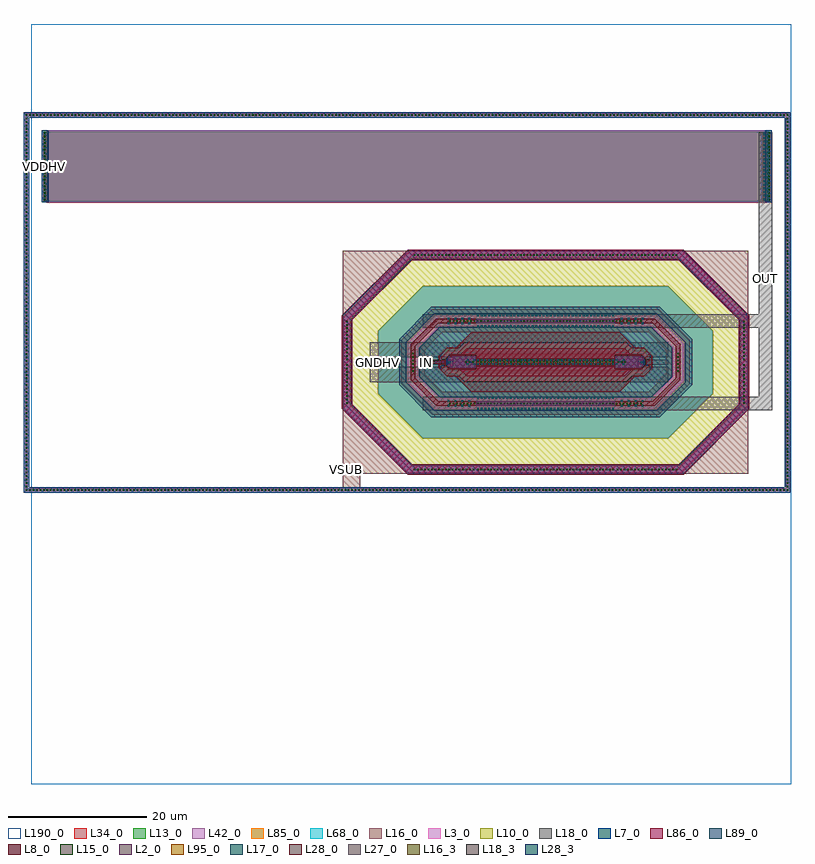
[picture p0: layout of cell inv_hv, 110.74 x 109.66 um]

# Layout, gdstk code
from math import pi, radians
import gdstk
lib = gdstk.Library(unit=1e-6, precision=1e-09)
def R(c, l, rs):  # rectangles x0, y0, x1, y1
    for r in rs: c.add(gdstk.rectangle(r[:2], r[2:], *l))
def A(c, l, x, y, w, h, nx, ny, dx, dy):  # array of equal rectangles
    R(c, l, [(x+i*dx, y+j*dy, x+i*dx+w, y+j*dy+h) for i in range(nx) for j in range(ny)])
def P(c, l, *ps):  # polygons
    for p in ps: c.add(gdstk.Polygon(p, *l))
L2_0 = (2, 0)
L3_0 = (3, 0)
L7_0 = (7, 0)
L8_0 = (8, 0)
L10_0 = (10, 0)
L13_0 = (13, 0)
L15_0 = (15, 0)
L16_0 = (16, 0)
L16_3 = (16, 3)
L17_0 = (17, 0)
L18_0 = (18, 0)
L18_3 = (18, 3)
L27_0 = (27, 0)
L28_0 = (28, 0)
L28_3 = (28, 3)
L34_0 = (34, 0)
L42_0 = (42, 0)
L68_0 = (68, 0)
L85_0 = (85, 0)
L86_0 = (86, 0)
L89_0 = (89, 0)
L95_0 = (95, 0)
L190_0 = (190, 0)

nedia_cdns_707135540070 = lib.new_cell('nedia_CDNS_707135540070')
R(nedia_cdns_707135540070, L2_0, [(-6.26,0,-5.64,20), (5.64,0,6.26,20)])
R(nedia_cdns_707135540070, L3_0, [(-15.97,0,-14.97,20), (-6.72,0,-5.18,20), (-2.68,0,0,20), (0,0,2.68,20), (5.18,0,6.72,20), (14.97,0,15.97,20)])
P(nedia_cdns_707135540070, L3_0, [(2.68,21.6),(1.53,22.75),(1.53,24),(0.68,24.85),(0,24.85),(0,24.2),(0.28,24.2),(0.31,24.17),(0.31,23.41),(0,23.41),(0,20),(2.68,20)],
  [(6.72,25.93),(2.76,29.89),(0,29.89),(0,28.35),(2.12,28.35),(5.18,25.29),(5.18,20),(6.72,20)],
  [(15.97,29.8),(6.63,39.14),(0,39.14),(0,38.14),(6.19,38.14),(14.97,29.36),(14.97,20),(15.97,20)],
  [(2.68,0),(0,0),(0,-3.41),(0.31,-3.41),(0.31,-4.17),(0.28,-4.2),(0,-4.2),(0,-4.85),(0.68,-4.85),(1.53,-4),(1.53,-2.75),(2.68,-1.6)],
  [(6.72,0),(5.18,0),(5.18,-5.29),(2.12,-8.35),(0,-8.35),(0,-9.89),(2.76,-9.89),(6.72,-5.93)],
  [(15.97,0),(14.97,0),(14.97,-9.36),(6.19,-18.14),(0,-18.14),(0,-19.14),(6.63,-19.14),(15.97,-9.8)],
  [(0,39.14),(-6.63,39.14),(-15.97,29.8),(-15.97,20),(-14.97,20),(-14.97,29.36),(-6.19,38.14),(0,38.14)],
  [(0,29.89),(-2.76,29.89),(-6.72,25.93),(-6.72,20),(-5.18,20),(-5.18,25.29),(-2.12,28.35),(0,28.35)],
  [(0,24.85),(-0.68,24.85),(-1.53,24),(-1.53,22.75),(-2.68,21.6),(-2.68,20),(0,20),(0,23.41),(-0.31,23.41),(-0.31,24.17),(-0.28,24.2),(0,24.2)],
  [(0,0),(-2.68,0),(-2.68,-1.6),(-1.53,-2.75),(-1.53,-4),(-0.68,-4.85),(0,-4.85),(0,-4.2),(-0.28,-4.2),(-0.31,-4.17),(-0.31,-3.41),(0,-3.41)],
  [(0,-8.35),(-2.12,-8.35),(-5.18,-5.29),(-5.18,0),(-6.72,0),(-6.72,-5.93),(-2.76,-9.89),(0,-9.89)],
  [(0,-18.14),(-6.19,-18.14),(-14.97,-9.36),(-14.97,0),(-15.97,0),(-15.97,-9.8),(-6.63,-19.14),(0,-19.14)])
R(nedia_cdns_707135540070, L7_0, [(-16.15,0,-14.79,20), (-0.24,0,0,20), (0,0,0.24,20), (14.79,0,16.15,20)])
P(nedia_cdns_707135540070, L7_0, [(0.98,23.86),(0.41,24.43),(0,24.43),(0,20),(0.98,20)],
  [(16.15,29.88),(6.71,39.32),(0,39.32),(0,37.96),(6.11,37.96),(14.79,29.28),(14.79,20),(16.15,20)],
  [(0.98,0),(0,0),(0,-4.43),(0.41,-4.43),(0.98,-3.86)],
  [(16.15,0),(14.79,0),(14.79,-9.28),(6.11,-17.96),(0,-17.96),(0,-19.32),(6.71,-19.32),(16.15,-9.88)],
  [(0,39.32),(-6.71,39.32),(-16.15,29.88),(-16.15,20),(-14.79,20),(-14.79,29.28),(-6.11,37.96),(0,37.96)],
  [(0,24.43),(-0.41,24.43),(-0.98,23.86),(-0.98,20),(0,20)],
  [(0,0),(-0.98,0),(-0.98,-3.86),(-0.41,-4.43),(0,-4.43)],
  [(0,-17.96),(-6.11,-17.96),(-14.79,-9.28),(-14.79,0),(-16.15,0),(-16.15,-9.88),(-6.71,-19.32),(0,-19.32)])
R(nedia_cdns_707135540070, L8_0, [(-6.26,0,-5.64,20), (-4.3,0,-0.24,20), (0.24,0,4.3,20), (5.64,0,6.26,20)])
P(nedia_cdns_707135540070, L8_0, [(4.3,20.72),(2.05,22.97),(2.05,24.22),(0.9,25.37),(0,25.37),(0,24.43),(0.41,24.43),(0.98,23.86),(0.98,20),(4.3,20)],
  [(6.26,25.74),(2.57,29.43),(0,29.43),(0,28.81),(2.31,28.81),(5.64,25.48),(5.64,20),(6.26,20)],
  [(4.3,0),(0.98,0),(0.98,-3.86),(0.41,-4.43),(0,-4.43),(0,-5.37),(0.9,-5.37),(2.05,-4.22),(2.05,-2.97),(4.3,-0.72)],
  [(6.26,0),(5.64,0),(5.64,-5.48),(2.31,-8.81),(0,-8.81),(0,-9.43),(2.57,-9.43),(6.26,-5.74)],
  [(0,29.43),(-2.57,29.43),(-6.26,25.74),(-6.26,20),(-5.64,20),(-5.64,25.48),(-2.31,28.81),(0,28.81)],
  [(0,25.37),(-0.9,25.37),(-2.05,24.22),(-2.05,22.97),(-4.3,20.72),(-4.3,20),(-0.98,20),(-0.98,23.86),(-0.41,24.43),(0,24.43)],
  [(0,-4.43),(-0.41,-4.43),(-0.98,-3.86),(-0.98,0),(-4.3,0),(-4.3,-0.72),(-2.05,-2.97),(-2.05,-4.22),(-0.9,-5.37),(0,-5.37)],
  [(0,-8.81),(-2.31,-8.81),(-5.64,-5.48),(-5.64,0),(-6.26,0),(-6.26,-5.74),(-2.57,-9.43),(0,-9.43)])
R(nedia_cdns_707135540070, L10_0, [(-14.97,0,-10.97,20), (10.97,0,14.97,20)])
P(nedia_cdns_707135540070, L10_0, [(14.97,29.36),(6.19,38.14),(0,38.14),(0,34.14),(4.53,34.14),(10.97,27.7),(10.97,20),(14.97,20)],
  [(14.97,0),(10.97,0),(10.97,-7.7),(4.53,-14.14),(0,-14.14),(0,-18.14),(6.19,-18.14),(14.97,-9.36)],
  [(0,38.14),(-6.19,38.14),(-14.97,29.36),(-14.97,20),(-10.97,20),(-10.97,27.7),(-4.53,34.14),(0,34.14)],
  [(0,-14.14),(-4.53,-14.14),(-10.97,-7.7),(-10.97,0),(-14.97,0),(-14.97,-9.36),(-6.19,-18.14),(0,-18.14)])
R(nedia_cdns_707135540070, L13_0, [(-2.9,0,-0.78,20), (0.78,0,2.9,20)])
P(nedia_cdns_707135540070, L13_0, [(2.9,21.7),(1.75,22.85),(1.75,24.1),(0.78,25.07),(0,25.07),(0,23.68),(0.21,23.68),(0.21,23.8),(0.67,23.8),(0.78,23.69),(0.78,20),(2.9,20)],
  [(2.9,0),(0.78,0),(0.78,-3.69),(0.67,-3.8),(0.21,-3.8),(0.21,-3.68),(0,-3.68),(0,-5.07),(0.78,-5.07),(1.75,-4.1),(1.75,-2.85),(2.9,-1.7)],
  [(0,25.07),(-0.78,25.07),(-1.75,24.1),(-1.75,22.85),(-2.9,21.7),(-2.9,20),(-0.78,20),(-0.78,23.69),(-0.67,23.8),(-0.21,23.8),(-0.21,23.68),(0,23.68)],
  [(0,-3.68),(-0.21,-3.68),(-0.21,-3.8),(-0.67,-3.8),(-0.78,-3.69),(-0.78,0),(-2.9,0),(-2.9,-1.7),(-1.75,-2.85),(-1.75,-4.1),(-0.78,-5.07),(0,-5.07)])
A(nedia_cdns_707135540070, L15_0, -6, -18.75, 0.22, 0.22, 12, 2, 0.5, 57.28)
A(nedia_cdns_707135540070, L15_0, 0.28, -18.75, 0.22, 0.22, 12, 2, 0.5, 57.28)
A(nedia_cdns_707135540070, L15_0, -1.36, -9.23, 0.22, 0.22, 6, 2, 0.5, 38.24)
A(nedia_cdns_707135540070, L15_0, -15.58, -9, 0.22, 0.22, 1, 18, 0, 0.5)
A(nedia_cdns_707135540070, L15_0, 15.36, -9, 0.22, 0.22, 1, 18, 0, 0.5)
A(nedia_cdns_707135540070, L15_0, -6.06, -3.86, 0.22, 0.22, 1, 9, 0, 0.5)
A(nedia_cdns_707135540070, L15_0, 5.84, -3.86, 0.22, 0.22, 1, 9, 0, 0.5)
A(nedia_cdns_707135540070, L15_0, -0.11, -1.61, 0.11, 0.22, 1, 3, 0, 0.5)
A(nedia_cdns_707135540070, L15_0, 0, -1.61, 0.11, 0.22, 1, 3, 0, 0.5)
A(nedia_cdns_707135540070, L15_0, -15.58, 0.14, 0.22, 0.22, 1, 6, 0, 0.48)
A(nedia_cdns_707135540070, L15_0, -0.58, 0.14, 0.22, 0.22, 1, 6, 0, 0.48)
A(nedia_cdns_707135540070, L15_0, -0.11, 0.14, 0.11, 0.22, 1, 6, 0, 0.48)
A(nedia_cdns_707135540070, L15_0, 0, 0.14, 0.11, 0.22, 1, 6, 0, 0.48)
A(nedia_cdns_707135540070, L15_0, 0.36, 0.14, 0.22, 0.22, 1, 6, 0, 0.48)
A(nedia_cdns_707135540070, L15_0, 15.36, 0.14, 0.22, 0.22, 1, 6, 0, 0.48)
A(nedia_cdns_707135540070, L15_0, -6.06, 0.62, 0.22, 0.22, 1, 5, 0, 0.48)
A(nedia_cdns_707135540070, L15_0, 5.84, 0.62, 0.22, 0.22, 1, 5, 0, 0.48)
A(nedia_cdns_707135540070, L15_0, -15.58, 3.015, 0.22, 0.22, 1, 36, 0, 0.475)
A(nedia_cdns_707135540070, L15_0, -6.06, 3.015, 0.22, 0.22, 1, 36, 0, 0.475)
A(nedia_cdns_707135540070, L15_0, -0.58, 3.015, 0.22, 0.22, 1, 36, 0, 0.475)
A(nedia_cdns_707135540070, L15_0, -0.11, 3.015, 0.11, 0.22, 1, 36, 0, 0.475)
A(nedia_cdns_707135540070, L15_0, 0, 3.015, 0.11, 0.22, 1, 36, 0, 0.475)
A(nedia_cdns_707135540070, L15_0, 0.36, 3.015, 0.22, 0.22, 1, 36, 0, 0.475)
A(nedia_cdns_707135540070, L15_0, 5.84, 3.015, 0.22, 0.22, 1, 36, 0, 0.475)
A(nedia_cdns_707135540070, L15_0, 15.36, 3.015, 0.22, 0.22, 1, 36, 0, 0.475)
A(nedia_cdns_707135540070, L15_0, -6.06, 20.14, 0.22, 0.22, 1, 8, 0, 0.5)
A(nedia_cdns_707135540070, L15_0, 5.84, 20.14, 0.22, 0.22, 1, 8, 0, 0.5)
A(nedia_cdns_707135540070, L15_0, -15.58, 20.28, 0.22, 0.22, 1, 18, 0, 0.5)
A(nedia_cdns_707135540070, L15_0, 15.36, 20.28, 0.22, 0.22, 1, 18, 0, 0.5)
A(nedia_cdns_707135540070, L15_0, -0.11, 20.39, 0.11, 0.22, 1, 3, 0, 0.5)
A(nedia_cdns_707135540070, L15_0, 0, 20.39, 0.11, 0.22, 1, 3, 0, 0.5)
R(nedia_cdns_707135540070, L15_0, [(-0.11,-4,0,-3.78), (0,-4,0.11,-3.78), (-0.11,23.78,0,24), (0,23.78,0.11,24)])
R(nedia_cdns_707135540070, L16_0, [(-16.08,0,-14.86,20), (-7.62,0,-4.28,20), (-1.23,0,0,20), (0,0,1.23,20), (4.28,0,7.62,20), (14.86,0,16.08,20)])
P(nedia_cdns_707135540070, L16_0, [(0.35,23.99),(0.26,24.08),(0,24.08),(0,23.7),(0.35,23.7)],
  [(7.62,26.31),(3.14,30.79),(0,30.79),(0,27.45),(1.75,27.45),(4.28,24.92),(4.28,20),(7.62,20)],
  [(16.08,39.25),(0,39.25),(0,38.03),(6.15,38.03),(14.86,29.32),(14.86,20),(16.08,20)],
  [(1.23,23.87),(0.55,24.55),(0,24.55),(0,24.32),(0.42,24.32),(0.65,24.09),(0.65,23.43),(0,23.43),(0,20),(1.23,20)],
  [(0.35,-3.7),(0,-3.7),(0,-4.08),(0.26,-4.08),(0.35,-3.99)],
  [(7.62,0),(4.28,0),(4.28,-4.92),(1.75,-7.45),(0,-7.45),(0,-10.79),(3.14,-10.79),(7.62,-6.31)],
  [(16.08,0),(14.86,0),(14.86,-9.32),(6.15,-18.03),(0,-18.03),(0,-19.25),(16.08,-19.25)],
  [(1.23,0),(0,0),(0,-3.43),(0.65,-3.43),(0.65,-4.09),(0.42,-4.32),(0,-4.32),(0,-4.55),(0.55,-4.55),(1.23,-3.87)],
  [(0,39.25),(-16.08,39.25),(-16.08,20),(-14.86,20),(-14.86,29.32),(-6.15,38.03),(0,38.03)],
  [(0,30.79),(-3.14,30.79),(-7.62,26.31),(-7.62,20),(-4.28,20),(-4.28,24.92),(-1.75,27.45),(0,27.45)],
  [(0,24.08),(-0.26,24.08),(-0.35,23.99),(-0.35,23.7),(0,23.7)],
  [(0,24.55),(-0.55,24.55),(-1.23,23.87),(-1.23,20),(0,20),(0,23.43),(-0.65,23.43),(-0.65,24.09),(-0.42,24.32),(0,24.32)],
  [(0,-3.7),(-0.35,-3.7),(-0.35,-3.99),(-0.26,-4.08),(0,-4.08)],
  [(0,-7.45),(-1.75,-7.45),(-4.28,-4.92),(-4.28,0),(-7.62,0),(-7.62,-6.31),(-3.14,-10.79),(0,-10.79)],
  [(0,-18.03),(-6.15,-18.03),(-14.86,-9.32),(-14.86,0),(-16.08,0),(-16.08,-19.25),(0,-19.25)],
  [(0,0),(-1.23,0),(-1.23,-3.87),(-0.55,-4.55),(0,-4.55),(0,-4.32),(-0.42,-4.32),(-0.65,-4.09),(-0.65,-3.43),(0,-3.43)])
A(nedia_cdns_707135540070, L17_0, -6.41, -4.13, 0.26, 0.26, 1, 4, 0, 1)
A(nedia_cdns_707135540070, L17_0, -5.75, -4.13, 0.26, 0.26, 1, 4, 0, 1)
A(nedia_cdns_707135540070, L17_0, 5.49, -4.13, 0.26, 0.26, 1, 4, 0, 1)
A(nedia_cdns_707135540070, L17_0, 6.15, -4.13, 0.26, 0.26, 1, 4, 0, 1)
A(nedia_cdns_707135540070, L17_0, -6.85, 0.14, 0.26, 0.26, 1, 8, 0, 0.53)
A(nedia_cdns_707135540070, L17_0, -5.31, 0.14, 0.26, 0.26, 1, 8, 0, 0.53)
A(nedia_cdns_707135540070, L17_0, -0.39, 0.14, 0.26, 0.26, 1, 8, 0, 0.53)
A(nedia_cdns_707135540070, L17_0, 0.13, 0.14, 0.26, 0.26, 1, 8, 0, 0.53)
A(nedia_cdns_707135540070, L17_0, 5.05, 0.14, 0.26, 0.26, 1, 8, 0, 0.53)
A(nedia_cdns_707135540070, L17_0, 6.59, 0.14, 0.26, 0.26, 1, 8, 0, 0.53)
A(nedia_cdns_707135540070, L17_0, -6.85, 4.375, 0.26, 0.26, 1, 30, 0, 0.525)
A(nedia_cdns_707135540070, L17_0, -5.31, 4.375, 0.26, 0.26, 1, 30, 0, 0.525)
A(nedia_cdns_707135540070, L17_0, -0.39, 4.375, 0.26, 0.26, 1, 30, 0, 0.525)
A(nedia_cdns_707135540070, L17_0, 0.13, 4.375, 0.26, 0.26, 1, 30, 0, 0.525)
A(nedia_cdns_707135540070, L17_0, 5.05, 4.375, 0.26, 0.26, 1, 30, 0, 0.525)
A(nedia_cdns_707135540070, L17_0, 6.59, 4.375, 0.26, 0.26, 1, 30, 0, 0.525)
A(nedia_cdns_707135540070, L17_0, -6.41, 20.87, 0.26, 0.26, 1, 4, 0, 1)
A(nedia_cdns_707135540070, L17_0, -5.75, 20.87, 0.26, 0.26, 1, 4, 0, 1)
A(nedia_cdns_707135540070, L17_0, 5.49, 20.87, 0.26, 0.26, 1, 4, 0, 1)
A(nedia_cdns_707135540070, L17_0, 6.15, 20.87, 0.26, 0.26, 1, 4, 0, 1)
R(nedia_cdns_707135540070, L17_0, [(-0.13,-4.02,0,-3.76), (0,-4.02,0.13,-3.76), (-0.39,-1.38,-0.13,-1.12), (0.13,-1.38,0.39,-1.12), (-0.39,-0.38,-0.13,-0.12), (0.13,-0.38,0.39,-0.12), (-0.39,20.12,-0.13,20.38), (0.13,20.12,0.39,20.38), (-0.39,21.12,-0.13,21.38), (0.13,21.12,0.39,21.38), (-0.13,23.76,0,24.02), (0,23.76,0.13,24.02)])
R(nedia_cdns_707135540070, L18_0, [(-6.91,-7.7,-4.99,0), (-0.35,-7.7,0,-3.7), (0,-7.7,0.35,-3.7), (4.99,-7.7,6.91,0), (-6.91,0,-4.99,20), (-2.88,0,0,20), (0,0,2.88,20), (4.99,0,6.91,20), (-6.91,20,-4.99,27.7), (4.99,20,6.91,27.7), (-0.35,23.7,0,27.7), (0,23.7,0.35,27.7)])
P(nedia_cdns_707135540070, L18_0, [(2.88,27.7),(0.7,27.7),(0.7,23.35),(0,23.35),(0,20),(2.88,20)],
  [(2.88,0),(0,0),(0,-3.35),(0.7,-3.35),(0.7,-7.7),(2.88,-7.7)],
  [(0,23.35),(-0.7,23.35),(-0.7,27.7),(-2.88,27.7),(-2.88,20),(0,20)],
  [(0,0),(-2.88,0),(-2.88,-7.7),(-0.7,-7.7),(-0.7,-3.35),(0,-3.35)])
R(nedia_cdns_707135540070, L34_0, [(-6.94,0,-6.28,20), (-5.62,0,-4.96,20), (4.96,0,5.62,20), (6.28,0,6.94,20)])
P(nedia_cdns_707135540070, L34_0, [(5.62,25.47),(2.3,28.79),(0,28.79),(0,28.13),(2.02,28.13),(4.96,25.19),(4.96,20),(5.62,20)],
  [(6.94,26.03),(2.86,30.11),(0,30.11),(0,29.45),(2.58,29.45),(6.28,25.75),(6.28,20),(6.94,20)],
  [(5.62,0),(4.96,0),(4.96,-5.19),(2.02,-8.13),(0,-8.13),(0,-8.79),(2.3,-8.79),(5.62,-5.47)],
  [(6.94,0),(6.28,0),(6.28,-5.75),(2.58,-9.45),(0,-9.45),(0,-10.11),(2.86,-10.11),(6.94,-6.03)],
  [(0,30.11),(-2.86,30.11),(-6.94,26.03),(-6.94,20),(-6.28,20),(-6.28,25.75),(-2.58,29.45),(0,29.45)],
  [(0,28.79),(-2.3,28.79),(-5.62,25.47),(-5.62,20),(-4.96,20),(-4.96,25.19),(-2.02,28.13),(0,28.13)],
  [(0,-8.13),(-2.02,-8.13),(-4.96,-5.19),(-4.96,0),(-5.62,0),(-5.62,-5.47),(-2.3,-8.79),(0,-8.79)],
  [(0,-9.45),(-2.58,-9.45),(-6.28,-5.75),(-6.28,0),(-6.94,0),(-6.94,-6.03),(-2.86,-10.11),(0,-10.11)])
P(nedia_cdns_707135540070, L68_0, [(10.97,27.7),(4.53,34.14),(-4.53,34.14),(-10.97,27.7),(-10.97,-7.7),(-4.53,-14.14),(4.53,-14.14),(10.97,-7.7)])
P(nedia_cdns_707135540070, L85_0, [(10.97,27.7),(4.53,34.14),(-4.53,34.14),(-10.97,27.7),(-10.97,-7.7),(-4.53,-14.14),(4.53,-14.14),(10.97,-7.7)])
R(nedia_cdns_707135540070, L86_0, [(-16.22,0,-14.72,20), (-2.03,0,0,20), (0,0,2.03,20), (14.72,0,16.22,20)])
P(nedia_cdns_707135540070, L86_0, [(2.03,21.4),(0.93,22.5),(0.93,23.75),(0.43,24.25),(0,24.25),(0,20),(2.03,20)],
  [(16.22,29.91),(6.74,39.39),(0,39.39),(0,37.89),(6.085,37.89),(14.72,29.255),(14.72,20),(16.22,20)],
  [(2.03,0),(0,0),(0,-4.25),(0.43,-4.25),(0.93,-3.75),(0.93,-2.5),(2.03,-1.4)],
  [(16.22,0),(14.72,0),(14.72,-9.255),(6.085,-17.89),(0,-17.89),(0,-19.39),(6.74,-19.39),(16.22,-9.91)],
  [(0,39.39),(-6.74,39.39),(-16.22,29.91),(-16.22,20),(-14.72,20),(-14.72,29.255),(-6.085,37.89),(0,37.89)],
  [(0,24.25),(-0.43,24.25),(-0.93,23.75),(-0.93,22.5),(-2.03,21.4),(-2.03,20),(0,20)],
  [(0,0),(-2.03,0),(-2.03,-1.4),(-0.93,-2.5),(-0.93,-3.75),(-0.43,-4.25),(0,-4.25)],
  [(0,-17.89),(-6.085,-17.89),(-14.72,-9.255),(-14.72,0),(-16.22,0),(-16.22,-9.91),(-6.74,-19.39),(0,-19.39)])
R(nedia_cdns_707135540070, L89_0, [(-7.97,0,-6.96,20), (-5.08,0,-2.78,20), (2.78,0,5.08,20), (6.96,0,7.97,20)])
P(nedia_cdns_707135540070, L89_0, [(5.08,25.25),(2.08,28.25),(0,28.25),(0,24.15),(0.5,24.15),(0.5,25.07),(1.1,25.07),(1.98,24.19),(1.98,22.44),(2.78,21.64),(2.78,20),(5.08,20)],
  [(7.97,26.46),(3.29,31.14),(0,31.14),(0,30.13),(2.87,30.13),(6.96,26.04),(6.96,20),(7.97,20)],
  [(5.08,0),(2.78,0),(2.78,-1.64),(1.98,-2.44),(1.98,-4.19),(1.1,-5.07),(0.5,-5.07),(0.5,-4.15),(0,-4.15),(0,-8.25),(2.08,-8.25),(5.08,-5.25)],
  [(7.97,0),(6.96,0),(6.96,-6.04),(2.87,-10.13),(0,-10.13),(0,-11.14),(3.29,-11.14),(7.97,-6.46)],
  [(0,31.14),(-3.29,31.14),(-7.97,26.46),(-7.97,20),(-6.96,20),(-6.96,26.04),(-2.87,30.13),(0,30.13)],
  [(0,28.25),(-2.08,28.25),(-5.08,25.25),(-5.08,20),(-2.78,20),(-2.78,21.64),(-1.98,22.44),(-1.98,24.19),(-1.1,25.07),(-0.5,25.07),(-0.5,24.15),(0,24.15)],
  [(0,-4.15),(-0.5,-4.15),(-0.5,-5.07),(-1.1,-5.07),(-1.98,-4.19),(-1.98,-2.44),(-2.78,-1.64),(-2.78,0),(-5.08,0),(-5.08,-5.25),(-2.08,-8.25),(0,-8.25)],
  [(0,-10.13),(-2.87,-10.13),(-6.96,-6.04),(-6.96,0),(-7.97,0),(-7.97,-6.46),(-3.29,-11.14),(0,-11.14)])
R(nedia_cdns_707135540070, L95_0, [(-0.58,0,0,20), (0,0,0.58,20)])
nedia_cdns_707135540070.add(gdstk.Label('G', (0.35,23.99), layer=16, texttype=0))
nedia_cdns_707135540070.add(gdstk.Label('D', (7.62,26.31), layer=16, texttype=0))
nedia_cdns_707135540070.add(gdstk.Label('SB', (16.08,39.25), layer=16, texttype=0))
nedia_cdns_707135540070.add(gdstk.Label('S', (1.23,23.87), layer=16, texttype=0))
nedia_cdns_707135540070.add(gdstk.Label('S', (0.615,10), layer=16, texttype=0))
nedia_cdns_707135540070.add(gdstk.Label('D', (5.95,10), layer=16, texttype=0))
nedia_cdns_707135540070.add(gdstk.Label('SB', (15.47,10), layer=16, texttype=0))
nedia_cdns_707135540070.add(gdstk.Label('G', (0.35,-3.7), layer=16, texttype=0))
nedia_cdns_707135540070.add(gdstk.Label('D', (7.62,0), layer=16, texttype=0))
nedia_cdns_707135540070.add(gdstk.Label('SB', (16.08,0), layer=16, texttype=0))
nedia_cdns_707135540070.add(gdstk.Label('S', (1.23,0), layer=16, texttype=0))
nedia_cdns_707135540070.add(gdstk.Label('SB', (0,39.25), layer=16, texttype=0))
nedia_cdns_707135540070.add(gdstk.Label('D', (0,30.79), layer=16, texttype=0))
nedia_cdns_707135540070.add(gdstk.Label('G', (0,24.08), layer=16, texttype=0))
nedia_cdns_707135540070.add(gdstk.Label('S', (0,24.55), layer=16, texttype=0))
nedia_cdns_707135540070.add(gdstk.Label('SB', (-15.47,10), layer=16, texttype=0))
nedia_cdns_707135540070.add(gdstk.Label('D', (-5.95,10), layer=16, texttype=0))
nedia_cdns_707135540070.add(gdstk.Label('S', (-0.615,10), layer=16, texttype=0))
nedia_cdns_707135540070.add(gdstk.Label('G', (0,-3.7), layer=16, texttype=0))
nedia_cdns_707135540070.add(gdstk.Label('D', (0,-7.45), layer=16, texttype=0))
nedia_cdns_707135540070.add(gdstk.Label('SB', (0,-18.03), layer=16, texttype=0))
nedia_cdns_707135540070.add(gdstk.Label('S', (0,0), layer=16, texttype=0))
nedia_cdns_707135540070.add(gdstk.Label('G', (0.175,25.7), layer=18, texttype=0))
nedia_cdns_707135540070.add(gdstk.Label('S', (2.88,27.7), layer=18, texttype=0))
nedia_cdns_707135540070.add(gdstk.Label('D', (5.95,23.85), layer=18, texttype=0))
nedia_cdns_707135540070.add(gdstk.Label('S', (1.44,10), layer=18, texttype=0))
nedia_cdns_707135540070.add(gdstk.Label('D', (5.95,10), layer=18, texttype=0))
nedia_cdns_707135540070.add(gdstk.Label('G', (0.175,-5.7), layer=18, texttype=0))
nedia_cdns_707135540070.add(gdstk.Label('S', (2.88,0), layer=18, texttype=0))
nedia_cdns_707135540070.add(gdstk.Label('D', (5.95,-3.85), layer=18, texttype=0))
nedia_cdns_707135540070.add(gdstk.Label('D', (-5.95,23.85), layer=18, texttype=0))
nedia_cdns_707135540070.add(gdstk.Label('G', (-0.175,25.7), layer=18, texttype=0))
nedia_cdns_707135540070.add(gdstk.Label('S', (0,23.35), layer=18, texttype=0))
nedia_cdns_707135540070.add(gdstk.Label('D', (-5.95,10), layer=18, texttype=0))
nedia_cdns_707135540070.add(gdstk.Label('S', (-1.44,10), layer=18, texttype=0))
nedia_cdns_707135540070.add(gdstk.Label('D', (-5.95,-3.85), layer=18, texttype=0))
nedia_cdns_707135540070.add(gdstk.Label('S', (0,0), layer=18, texttype=0))
nedia_cdns_707135540070.add(gdstk.Label('G', (-0.175,-5.7), layer=18, texttype=0))
nedia_cdns_707135540070.add(gdstk.Label('[@instanceName]', (0,10), layer=230, texttype=0))

rpp1k1_3_cdns_7071355400 = lib.new_cell('rpp1k1_3_CDNS_707135540071')
R(rpp1k1_3_cdns_7071355400, L7_0, [(-0.94,-0.18,0,10.18), (-0.94,-0.18,0,10.18), (103.425,-0.18,104.365,10.18), (103.425,-0.18,104.365,10.18)])
R(rpp1k1_3_cdns_7071355400, L13_0, [(-0.76,0,0,10), (0,0,103.425,10), (103.425,0,104.185,10)])
A(rpp1k1_3_cdns_7071355400, L15_0, -0.66, 0.1, 0.22, 0.22, 1, 17, 0, 0.48)
A(rpp1k1_3_cdns_7071355400, L15_0, 103.865, 0.1, 0.22, 0.22, 1, 17, 0, 0.48)
A(rpp1k1_3_cdns_7071355400, L15_0, -0.66, 8.255, 0.22, 0.22, 1, 4, 0, 0.475)
A(rpp1k1_3_cdns_7071355400, L15_0, 103.865, 8.255, 0.22, 0.22, 1, 4, 0, 0.475)
R(rpp1k1_3_cdns_7071355400, L16_0, [(-0.72,0.04,-0.38,9.96), (103.805,0.04,104.145,9.96)])
R(rpp1k1_3_cdns_7071355400, L34_0, [(-0.22,-0.22,103.645,10.22)])
R(rpp1k1_3_cdns_7071355400, L42_0, [(0,-0.18,103.425,10.18)])
rpp1k1_3_cdns_7071355400.add(gdstk.Label('rpp1k1_3', (0.01,5), layer=13, texttype=5))
rpp1k1_3_cdns_7071355400.add(gdstk.Label('MINUS', (103.975,5), layer=16, texttype=0))
rpp1k1_3_cdns_7071355400.add(gdstk.Label('PLUS', (-0.55,5), layer=16, texttype=0))
rpp1k1_3_cdns_7071355400.add(gdstk.Label('[@instanceName]', (51.715,5), layer=230, texttype=0))

via1_c_cdns_707135540070 = lib.new_cell('VIA1_C_CDNS_707135540070')
R(via1_c_cdns_707135540070, L16_0, [(-0.49,-4.91,0.49,4.91)])
A(via1_c_cdns_707135540070, L17_0, -0.39, -4.81, 0.26, 0.26, 1, 19, 0, 0.52)
A(via1_c_cdns_707135540070, L17_0, 0.13, -4.81, 0.26, 0.26, 1, 19, 0, 0.52)
R(via1_c_cdns_707135540070, L18_0, [(-0.49,-4.91,0.49,4.91)])

via2_c_cdns_707135540071 = lib.new_cell('VIA2_C_CDNS_707135540071')
R(via2_c_cdns_707135540071, L18_0, [(-1.53,-0.23,1.53,0.23)])
A(via2_c_cdns_707135540071, L27_0, -1.43, -0.13, 0.26, 0.26, 6, 1, 0.52, 0)
R(via2_c_cdns_707135540071, L28_0, [(-1.53,-0.23,1.53,0.23)])

inv_hv = lib.new_cell('inv_hv')
A(inv_hv, L15_0, -0.8, 42.33, 0.22, 0.22, 161, 1, 0.5, 0)
A(inv_hv, L15_0, 79.705, 42.33, 0.22, 0.22, 59, 1, 0.505, 0)
A(inv_hv, L15_0, 108.995, 42.83, 0.22, 0.22, 1, 87, 0, 0.5)
A(inv_hv, L15_0, -0.8, 42.835, 0.22, 0.22, 1, 21, 0, 0.505)
A(inv_hv, L15_0, -0.8, 53.435, 0.22, 0.22, 1, 86, 0, 0.5)
A(inv_hv, L15_0, 108.995, 86.335, 0.22, 0.22, 1, 20, 0, 0.505)
A(inv_hv, L15_0, -0.8, 96.435, 0.22, 0.22, 31, 1, 0.505, 0)
A(inv_hv, L15_0, 14.85, 96.435, 0.22, 0.22, 80, 1, 0.5, 0)
A(inv_hv, L15_0, 54.855, 96.435, 0.22, 0.22, 29, 1, 0.505, 0)
A(inv_hv, L15_0, 69.495, 96.435, 0.22, 0.22, 80, 1, 0.5, 0)
R(inv_hv, L16_0, [(44.955,42.345,47.455,45.95), (45.105,44.91,46.095,45.805), (1.76,88.915,2.055,89.315)])
R(inv_hv, L16_3, [(45.385,45.205,45.615,45.435), (1.775,88.995,2.005,89.225)])
R(inv_hv, L18_0, [(49.4,60.465,50.405,61.215), (105.325,72.47,106.59,73.365)])
R(inv_hv, L18_3, [(49.78,60.745,50.01,60.975), (105.865,72.8,106.095,73.03)])
R(inv_hv, L28_0, [(56.735,60.685,57.315,61.045)])
R(inv_hv, L28_3, [(56.885,60.75,57.115,60.98)])
R(inv_hv, L190_0, [(0,0,109.66,109.66)])
inv_hv.add(gdstk.FlexPath([(54.21,96.545),(109.105,96.545),(109.105,42.44),(-0.69,42.44),(-0.69,96.545),(54.21,96.545)], 0.34, ends="flush", simple_path=True, layer=16, datatype=0))  # L16_0
inv_hv.add(gdstk.FlexPath([(49.945,62.66),(49.945,59.08)], 2.18, ends="extended", simple_path=True, layer=18, datatype=0))  # L18_0
inv_hv.add(gdstk.FlexPath([(56.505,62.66),(49.945,62.66)], 2.18, ends=(0, 1.09), simple_path=True, layer=18, datatype=0))  # L18_0
inv_hv.add(gdstk.FlexPath([(49.945,59.08),(56.505,59.08)], 2.18, ends=(1.09, 0), simple_path=True, layer=18, datatype=0))  # L18_0
inv_hv.add(gdstk.FlexPath([(105.935,54.92),(105.935,66.82)], 1.92, ends="extended", simple_path=True, layer=18, datatype=0))  # L18_0
inv_hv.add(gdstk.FlexPath([(89.61,66.82),(105.935,66.82)], 1.92, ends=(0, 0.96), simple_path=True, layer=18, datatype=0))  # L18_0
inv_hv.add(gdstk.FlexPath([(105.935,66.82),(105.935,94.075)], 1.92, ends=(0.96, 0), simple_path=True, layer=18, datatype=0))  # L18_0
inv_hv.add(gdstk.FlexPath([(90.265,54.92),(105.935,54.92)], 1.92, ends=(0, 0.96), simple_path=True, layer=18, datatype=0))  # L18_0
inv_hv.add(gdstk.FlexPath([(54.21,96.545),(109.105,96.545),(109.105,42.44),(-0.69,42.44),(-0.69,96.545),(54.21,96.545)], 0.78, ends="flush", simple_path=True, layer=7, datatype=0))  # L7_0
inv_hv.add(gdstk.FlexPath([(54.21,96.545),(109.105,96.545),(109.105,42.44),(-0.69,42.44),(-0.69,96.545),(54.21,96.545)], 0.42, ends="flush", simple_path=True, layer=3, datatype=0))  # L3_0
inv_hv.add(gdstk.Reference(nedia_cdns_707135540070, (84.205,60.87), rotation=pi/2))
inv_hv.add(gdstk.Reference(rpp1k1_3_cdns_7071355400, (2.46,84.115)))
inv_hv.add(gdstk.Reference(via1_c_cdns_707135540070, (106.055,89.065)))
inv_hv.add(gdstk.Reference(via2_c_cdns_707135540071, (58.16,60.86)))
inv_hv.add(gdstk.Label('VSUB', (45.5,45.32), layer=16, texttype=3))
inv_hv.add(gdstk.Label('VDDHV', (1.89,89.11), layer=16, texttype=3))
inv_hv.add(gdstk.Label('IN', (57,60.865), layer=28, texttype=3))
inv_hv.add(gdstk.Label('GNDHV', (49.895,60.86), layer=18, texttype=3))
inv_hv.add(gdstk.Label('OUT', (105.98,72.915), layer=18, texttype=3))
inv_hv.add(gdstk.Label('OUT', (105.965,72.915), layer=18, texttype=15))
inv_hv.add(gdstk.Label('GNDHV', (49.875,60.865), layer=18, texttype=15))
inv_hv.add(gdstk.Label('VSUB', (45.5,45.32), layer=18, texttype=15))
inv_hv.add(gdstk.Label('VDDHV', (1.885,89.125), layer=16, texttype=15))
inv_hv.add(gdstk.Label('VSUB', (45.48,45.315), layer=16, texttype=15))
inv_hv.add(gdstk.Label('IN', (56.99,60.875), layer=28, texttype=15))

lib.write_gds('inv_hv.gds')
